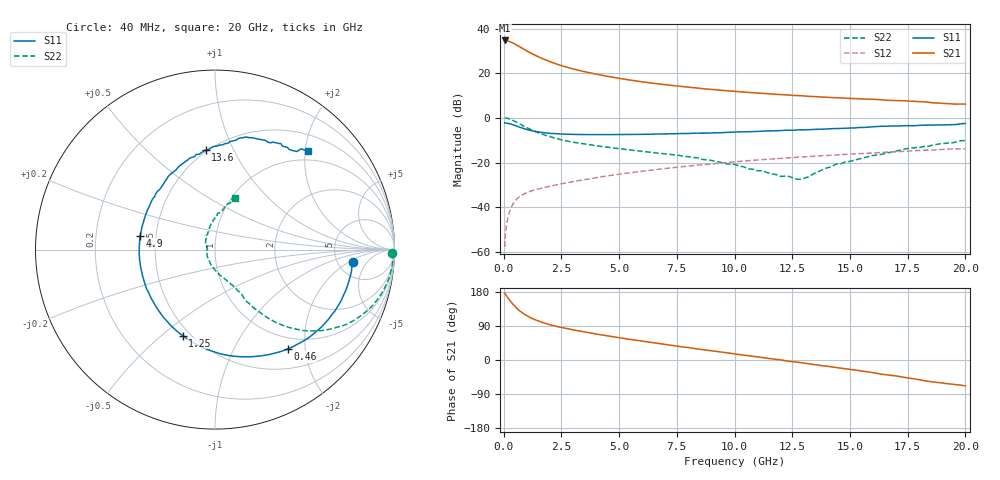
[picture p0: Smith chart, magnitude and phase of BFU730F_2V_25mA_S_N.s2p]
! Filename:  P:\Prog\Test\Noise\ATS_data\Testdata_Net\BFU730\BFU730_2W_B1_2V25mA_D.s2p
! Date/Time: Fri 29/Apr/2011 14:14:29
! BFU730_2W_B1_2V25mA
! bias mode 1: Vout= 2.0002 V, Iout=24.9900 mA, Vin= 0.8177 V, Iin= 0.0917 mA
! Date/time Thu Mar 17 13:19:04 2011
! Device data file deembeded for feedlines and parallel
! Original file: \BFU730\BFU730_2W_B1_2V25mA_R.s2p
! Feed-files: PR003V01_101208_Feed1.s2p, PR003V01_101208_Feed2.s2p
! Parallel-file: PR003V01_101208_Par.s2p
# MHz S MA R 50
!  Freq-MHz  S11-mag  S11-arg  S21-mag  S21-arg  S12-mag  S12-arg  S22-mag  S22-arg
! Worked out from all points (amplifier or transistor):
!   167 points, 40 MHz to 20 GHz, reference 50 ohm
!   highest |S21| = 34.7 dB at 50 MHz (marker M1)
!   |S21| within 3 dB of that: start of sweep to 719.8 MHz
!   unconditionally stable (mu >= 1): 3.965 GHz to 15.41 GHz
!   at 550 MHz: K = 0.25, MSG = 34.6 dB, |S12| = -36.5 dB
!   at 4.2 GHz: K = 1.02, MAG = 22.1 dB, |S12| = -26.4 dB
!   at 20 GHz: K = 0.87, MSG = 10.0 dB, |S12| = -13.8 dB
!   lowest NFmin = 0.90 dB at 850 MHz
!   S11 on the Smith chart (normalised r, x): 40 MHz: 6.98, -2.32; 460 MHz: 0.80, -1.68; 1.25 GHz: 0.45, -0.59; 4.9 GHz: 0.41, +0.08; 13.6 GHz: 0.49, +0.78; 20 GHz: 0.81, +2.05
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40  0.7719 -5.0  54.19 176.8  0.001395 87.8  0.9881 -1.1
50  0.7665 -6.8  54.33 175.4  0.001339 80.9  0.9891 -2.2
140  0.7634 -17.4  53.42 167.8  0.004508 82.6  0.9829 -9.1
260  0.7417 -31.8  51.21 157.7  0.00807 76.1  0.9456 -17.2
340  0.7211 -41.0  49.23 151.5  0.01026 72.2  0.9111 -22.2
460  0.6859 -53.9  46.02 143.1  0.01311 66.9  0.8522 -28.6
600  0.6436 -67.1  41.9 134.6  0.01582 61.9  0.7782 -34.8
700  0.6169 -75.5  38.98 129.4  0.01741 59.1  0.7286 -38.4
850  0.5814 -87.0  35.15 122.7  0.01945 55.8  0.662 -42.8
1050  0.5415 -99.8  30.68 115.3  0.02167 53.0  0.5861 -47.1
1250  0.512 -110.7  27.05 109.2  0.02357 51.1  0.5253 -50.3
1550  0.4809 -123.9  22.81 101.8  0.02605 49.7  0.4548 -53.4
2000  0.4511 -139.3  18.25 93.1  0.02945 48.9  0.3817 -56.8
2600  0.4335 -154.5  14.3 84.6  0.0342 48.8  0.3135 -59.1
3400  0.424 -169.4  11.16 75.1  0.04065 48.4  0.2656 -60.8
4900  0.4244 169.4  7.858 59.7  0.05391 45.9  0.208 -65.7
6800  0.4361 149.5  5.705 42.9  0.0715 40.1  0.1604 -74.2
10200  0.4871 121.0  3.878 14.5  0.106 25.5  0.08348 -107.2
13400  0.5491 97.0  3.017 -11.6  0.1387 8.1  0.05528 155.2
13600  0.5572 95.4  2.984 -13.4  0.1401 7.1  0.06142 147.7
16800  0.6578 71.2  2.462 -40.5  0.1722 -11.7  0.1713 90.5
20000  0.7527 46.7  2.038 -68.5  0.2039 -33.0  0.3119 68.5
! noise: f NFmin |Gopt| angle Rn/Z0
400  0.905  0.02908  9.78  0.1051
850  0.9035  0.02879  42.43  0.1079
1500  0.9047  0.03408  76.54  0.1104
2150  0.9098  0.03979  101.4  0.1114
3100  0.9242  0.04875  134.2  0.1109
4400  0.9575  0.07276  173.1  0.1086
6400  1.039  0.1414  207.8  0.1073
8800  1.186  0.2404  230  0.123
1.14e+04  1.404  0.3259  250.7  0.1818
1.4e+04  1.685  0.3867  279.4  0.3071
